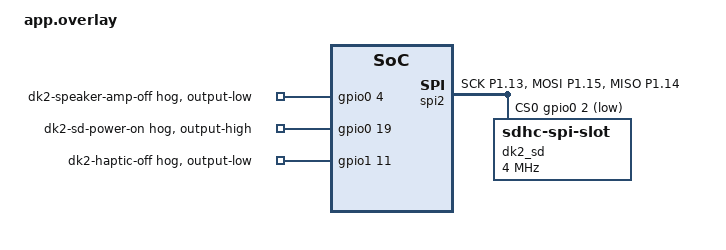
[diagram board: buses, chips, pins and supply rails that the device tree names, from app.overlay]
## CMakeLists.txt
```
# SPDX-License-Identifier: Apache-2.0

cmake_minimum_required(VERSION 3.20.0)
find_package(Zephyr REQUIRED HINTS $ENV{ZEPHYR_BASE})
project(dk2_sd_provision)

target_sources(app PRIVATE src/main.c)
```

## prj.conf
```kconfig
# One-shot DK2 microSD reservation provisioner. This firmware intentionally
# destroys the existing card contents, verifies the reservation marker, and
# stops.
CONFIG_GPIO=y
CONFIG_SPI=y
CONFIG_SPI_NRFX=y

CONFIG_DISK_ACCESS=y
CONFIG_DISK_DRIVER_SDMMC=y
CONFIG_FILE_SYSTEM=y
CONFIG_FILE_SYSTEM_MKFS=y
CONFIG_FAT_FILESYSTEM_ELM=y
CONFIG_FS_FATFS_MOUNT_MKFS=n
CONFIG_FS_FATFS_EXFAT=y

CONFIG_SERIAL=y
CONFIG_CONSOLE=y
CONFIG_UART_CONSOLE=y
CONFIG_UART_LINE_CTRL=y
CONFIG_USB_DEVICE_STACK=y
CONFIG_USB_DEVICE_INITIALIZE_AT_BOOT=y
CONFIG_USB_CDC_ACM=y
CONFIG_USB_DEVICE_PRODUCT="DK2 SD PROVISION"
CONFIG_PRINTK=y
CONFIG_LOG=n

CONFIG_MAIN_STACK_SIZE=8192
CONFIG_HEAP_MEM_POOL_SIZE=8192

CONFIG_BUILD_OUTPUT_UF2=y
CONFIG_USE_DT_CODE_PARTITION=y

CONFIG_BT=n
CONFIG_NVS=n
CONFIG_SETTINGS=n
```

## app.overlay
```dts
/*
 * Destructive DK2 SD reservation-provisioner wiring.
 *
 * Safety-critical outputs are parked by GPIO hogs so they are low before
 * main() runs.  Do not remove these while this image is used on DK2 hardware.
 */

/ {
	chosen {
		zephyr,console = &usb_cdc_acm_uart;
		zephyr,shell-uart = &usb_cdc_acm_uart;
	};
};

&gpio0 {
	dk2_speaker_amp_park: dk2-speaker-amp-park {
		gpio-hog;
		gpios = <4 GPIO_ACTIVE_HIGH>;
		output-low;
		line-name = "dk2-speaker-amp-off";
	};

	dk2_sd_power_enable: dk2-sd-power-enable {
		gpio-hog;
		gpios = <19 GPIO_ACTIVE_HIGH>;
		output-high;
		line-name = "dk2-sd-power-on";
	};
};

&gpio1 {
	dk2_haptic_park: dk2-haptic-park {
		gpio-hog;
		gpios = <11 GPIO_ACTIVE_HIGH>;
		output-low;
		line-name = "dk2-haptic-off";
	};
};

&uart0 {
	status = "disabled";
};

&qspi {
	status = "disabled";
};

&spi2 {
	compatible = "nordic,nrf-spi";
	status = "okay";
	pinctrl-0 = <&dk2_spi2_default>;
	pinctrl-1 = <&dk2_spi2_sleep>;
	pinctrl-names = "default", "sleep";
	cs-gpios = <&gpio0 2 GPIO_ACTIVE_LOW>;

	dk2_sd: sdhc@0 {
		compatible = "zephyr,sdhc-spi-slot";
		reg = <0>;
		status = "okay";
		/* Provisioning favors signal margin over throughput. */
		spi-max-frequency = <4000000>;

		mmc {
			compatible = "zephyr,sdmmc-disk";
			status = "okay";
		};
	};
};

&pinctrl {
	dk2_spi2_default: dk2-spi2-default {
		group1 {
			psels = <NRF_PSEL(SPIM_SCK, 1, 13)>,
				<NRF_PSEL(SPIM_MOSI, 1, 15)>,
				<NRF_PSEL(SPIM_MISO, 1, 14)>;
		};
	};

	dk2_spi2_sleep: dk2-spi2-sleep {
		group1 {
			psels = <NRF_PSEL(SPIM_SCK, 1, 13)>,
				<NRF_PSEL(SPIM_MOSI, 1, 15)>,
				<NRF_PSEL(SPIM_MISO, 1, 14)>;
			low-power-enable;
		};
	};
};

&sd_partition {
	read-only;
};

&code_partition {
	reg = <0x00027000 0x000c3000>;
};

&flash0 {
	partitions {
		guard_partition: partition@ea000 {
			label = "adafruit_guard";
			reg = <0x000ea000 0x00002000>;
			read-only;
		};
	};
};

&boot_partition {
	read-only;
};
```

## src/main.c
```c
/* SPDX-License-Identifier: Apache-2.0 */

#include <errno.h>
#include <string.h>

#include <ff.h>
#include <zephyr/device.h>
#include <zephyr/drivers/gpio.h>
#include <zephyr/drivers/uart.h>
#include <zephyr/fs/fs.h>
#include <zephyr/kernel.h>
#include <zephyr/storage/disk_access.h>
#include <zephyr/sys/printk.h>

#define DISK_NAME CONFIG_SDMMC_VOLUME_NAME
#define MOUNT_POINT "/" DISK_NAME ":"
#define CISSA_DIR MOUNT_POINT "/CISSA"
#define MARKER_PATH CISSA_DIR "/RESERVED.V1"

static const char marker[] = "CISSA-SD-RESERVATION-V1\n";
#define MARKER_SIZE (sizeof(marker) - 1U)
#define MKFS_WORK_SIZE 4096U

static uint8_t mkfs_work[MKFS_WORK_SIZE] __aligned(4);
static uint32_t card_sector_count;
static FRESULT mkfs_result = FR_OK;
static unsigned int mkfs_attempts;
static bool recovered_mkfs_error;

static const struct gpio_dt_spec red_led = GPIO_DT_SPEC_GET(DT_ALIAS(led0), gpios);
static const struct gpio_dt_spec green_led = GPIO_DT_SPEC_GET(DT_ALIAS(led1), gpios);
static const struct gpio_dt_spec blue_led = GPIO_DT_SPEC_GET(DT_ALIAS(led2), gpios);
static const struct device *const console = DEVICE_DT_GET(DT_CHOSEN(zephyr_console));

static FATFS fat_fs;
static struct fs_mount_t mount = {
	.type = FS_FATFS,
	.fs_data = &fat_fs,
	.mnt_point = MOUNT_POINT,
};

static void set_leds(bool red, bool green, bool blue)
{
	gpio_pin_set_dt(&red_led, red);
	gpio_pin_set_dt(&green_led, green);
	gpio_pin_set_dt(&blue_led, blue);
}

static int init_leds(void)
{
	int rc;

	if (!gpio_is_ready_dt(&red_led) || !gpio_is_ready_dt(&green_led) ||
	    !gpio_is_ready_dt(&blue_led)) {
		return -ENODEV;
	}

	rc = gpio_pin_configure_dt(&red_led, GPIO_OUTPUT_INACTIVE);
	if (rc != 0) {
		return rc;
	}
	rc = gpio_pin_configure_dt(&green_led, GPIO_OUTPUT_INACTIVE);
	if (rc != 0) {
		return rc;
	}
	return gpio_pin_configure_dt(&blue_led, GPIO_OUTPUT_INACTIVE);
}

static void wait_for_console(void)
{
	uint32_t dtr = 0;

	while (!device_is_ready(console)) {
		k_sleep(K_MSEC(50));
	}
	while (uart_line_ctrl_get(console, UART_LINE_CTRL_DTR, &dtr) != 0 || dtr == 0) {
		k_sleep(K_MSEC(50));
	}
}

static int mkfs_errno(FRESULT result)
{
	switch (result) {
	case FR_OK:
		return 0;
	case FR_WRITE_PROTECTED:
		return -EROFS;
	case FR_NOT_ENOUGH_CORE:
		return -ENOMEM;
	case FR_INVALID_PARAMETER:
		return -EINVAL;
	default:
		return -EIO;
	}
}

static int provision_card(const char **failed_stage)
{
	static MKFS_PARM fat32_cfg = {
		.fmt = FM_FAT32 | FM_SFD,
		.n_fat = 1,
		.align = 1,
		.n_root = 512,
		.au_size = 32768,
	};
	static const uint8_t blank_sector[512];
	static uint8_t verify_sector[512];
	char verify[sizeof(marker)] = {0};
	struct fs_file_t file;
	ssize_t io_rc;
	uint32_t sector_size = 0;
	int rc;

	*failed_stage = "disk_init";
	for (int attempt = 0; attempt < 3; ++attempt) {
		rc = disk_access_init(DISK_NAME);
		if (rc == 0) {
			break;
		}
		k_sleep(K_MSEC(250));
	}
	if (rc != 0) {
		return rc;
	}

	*failed_stage = "disk_status";
	rc = disk_access_status(DISK_NAME);
	if (rc != DISK_STATUS_OK) {
		return rc == 0 ? -EIO : rc;
	}

	*failed_stage = "sector_size";
	rc = disk_access_ioctl(DISK_NAME, DISK_IOCTL_GET_SECTOR_SIZE, &sector_size);
	if (rc != 0) {
		return rc;
	}
	if (sector_size != sizeof(blank_sector)) {
		return -ENOTSUP;
	}
	*failed_stage = "sector_count";
	rc = disk_access_ioctl(DISK_NAME, DISK_IOCTL_GET_SECTOR_COUNT,
			       &card_sector_count);
	if (rc != 0 || card_sector_count < 128U) {
		return rc != 0 ? rc : -ENOSPC;
	}

	/* Destroy and verify sector zero before asking FatFs to format. */
	*failed_stage = "raw_write";
	rc = disk_access_write(DISK_NAME, blank_sector, 0, 1);
	if (rc != 0) {
		return rc;
	}
	*failed_stage = "raw_sync";
	rc = disk_access_ioctl(DISK_NAME, DISK_IOCTL_CTRL_SYNC, NULL);
	if (rc != 0) {
		return rc;
	}
	*failed_stage = "raw_read";
	rc = disk_access_read(DISK_NAME, verify_sector, 0, 1);
	if (rc != 0) {
		return rc;
	}
	if (memcmp(blank_sector, verify_sector, sizeof(blank_sector)) != 0) {
		*failed_stage = "raw_compare";
		return -EIO;
	}

	/* Zephyr's fs_mkfs wrapper gives FatFs one 512-byte work sector, forcing
	 * thousands of individual SPI writes on a large card. Use an aligned
	 * eight-sector buffer so FatFs emits bounded multi-block transfers. */
	*failed_stage = "mkfs";
	for (mkfs_attempts = 1U; mkfs_attempts <= 3U; ++mkfs_attempts) {
		mkfs_result = f_mkfs(DISK_NAME ":", &fat32_cfg, mkfs_work,
				     sizeof(mkfs_work));
		if (mkfs_result == FR_OK) {
			break;
		}
		if (mkfs_result != FR_DISK_ERR) {
			return mkfs_errno(mkfs_result);
		}
		k_sleep(K_SECONDS(1));
		*failed_stage = "mkfs_retry_sync";
		rc = disk_access_ioctl(DISK_NAME, DISK_IOCTL_CTRL_SYNC, NULL);
		if (rc != 0) {
			return rc;
		}
		*failed_stage = "mkfs";
	}
	if (mkfs_attempts > 3U) {
		mkfs_attempts = 3U;
	}
	if (mkfs_result != FR_OK) {
		/* A final sync error is provisional. Mount, marker readback, and
		 * unmount below remain mandatory before success can be reported. */
		recovered_mkfs_error = true;
	}

	*failed_stage = "mount";
	rc = fs_mount(&mount);
	if (rc != 0) {
		return rc;
	}

	*failed_stage = "reservation_dir";
	rc = fs_mkdir(CISSA_DIR);
	if (rc != 0 && rc != -EEXIST) {
		goto out_unmount;
	}

	fs_file_t_init(&file);
	*failed_stage = "marker_open_write";
	rc = fs_open(&file, MARKER_PATH, FS_O_CREATE | FS_O_WRITE);
	if (rc != 0) {
		goto out_unmount;
	}

	*failed_stage = "marker_write";
	io_rc = fs_write(&file, marker, MARKER_SIZE);
	if (io_rc != MARKER_SIZE) {
		rc = io_rc < 0 ? (int)io_rc : -EIO;
		fs_close(&file);
		goto out_unmount;
	}

	*failed_stage = "marker_sync";
	rc = fs_sync(&file);
	if (rc != 0) {
		fs_close(&file);
		goto out_unmount;
	}
	rc = fs_close(&file);
	if (rc != 0) {
		*failed_stage = "marker_close_write";
		goto out_unmount;
	}

	fs_file_t_init(&file);
	*failed_stage = "marker_open_read";
	rc = fs_open(&file, MARKER_PATH, FS_O_READ);
	if (rc != 0) {
		goto out_unmount;
	}

	*failed_stage = "marker_read";
	io_rc = fs_read(&file, verify, sizeof(verify));
	if (io_rc != MARKER_SIZE || memcmp(verify, marker, MARKER_SIZE) != 0) {
		rc = io_rc < 0 ? (int)io_rc : -EIO;
		fs_close(&file);
		goto out_unmount;
	}

	rc = fs_close(&file);
	if (rc != 0) {
		*failed_stage = "marker_close_read";
		goto out_unmount;
	}

	*failed_stage = "unmount";
	rc = fs_unmount(&mount);
	return rc;

out_unmount:
	fs_unmount(&mount);
	return rc;
}

int main(void)
{
	const char *failed_stage = "led_init";
	int rc;

	rc = init_leds();
	if (rc == 0) {
		set_leds(false, false, true);
		k_sleep(K_MSEC(300));
	}

	if (rc == 0) {
		rc = provision_card(&failed_stage);
	}

	if (rc == 0) {
		set_leds(false, true, false);
	} else {
		set_leds(true, false, false);
	}

	wait_for_console();
	if (rc == 0) {
		printk("PROVISION_OK marker=%s bytes=%u verified=1 sectors=%u "
		       "mkfs_result=%d attempts=%u recovered=%u\r\n",
		       MARKER_PATH, (unsigned int)MARKER_SIZE,
		       card_sector_count, (int)mkfs_result, mkfs_attempts,
		       recovered_mkfs_error ? 1U : 0U);
	} else {
		printk("PROVISION_FAIL stage=%s errno=%d sectors=%u "
		       "mkfs_result=%d attempts=%u\r\n",
		       failed_stage, rc, card_sector_count, (int)mkfs_result,
		       mkfs_attempts);
	}

	for (;;) {
		k_sleep(K_FOREVER);
	}
	return 0;
}
```
